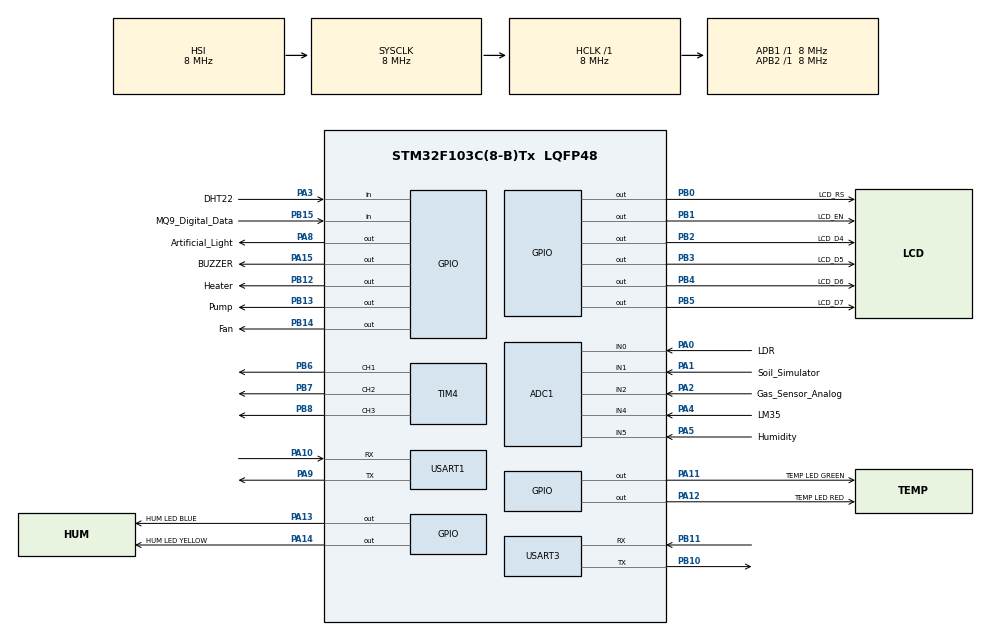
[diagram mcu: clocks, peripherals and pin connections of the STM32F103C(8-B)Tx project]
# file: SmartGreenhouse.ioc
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ADC1.Channel-0\#ChannelRegularConversion=ADC_CHANNEL_0
ADC1.NbrOfConversionFlag=1
ADC1.Rank-0\#ChannelRegularConversion=1
ADC1.SamplingTime-0\#ChannelRegularConversion=ADC_SAMPLETIME_1CYCLE_5
ADC1.master=1
Dma.Request0=USART3_TX
Dma.USART3_TX.0.Direction=DMA_MEMORY_TO_PERIPH
Dma.USART3_TX.0.Instance=DMA1_Channel2
Dma.USART3_TX.0.MemDataAlignment=DMA_MDATAALIGN_BYTE
Dma.USART3_TX.0.MemInc=DMA_MINC_ENABLE
Dma.USART3_TX.0.Mode=DMA_NORMAL
Dma.USART3_TX.0.PeriphDataAlignment=DMA_PDATAALIGN_BYTE
Dma.USART3_TX.0.PeriphInc=DMA_PINC_DISABLE
Dma.USART3_TX.0.Priority=DMA_PRIORITY_LOW
Mcu.Family=STM32F1
Mcu.Name=STM32F103C(8-B)Tx
Mcu.Package=LQFP48
NVIC.DMA1_Channel2_IRQn=true\:0\:0\:false\:false\:true\:false\:true\:true
NVIC.PriorityGroup=NVIC_PRIORITYGROUP_4
NVIC.USART3_IRQn=true\:0\:0\:false\:false\:true\:true\:true\:true
PA0-WKUP.GPIO_Label=LDR
PA0-WKUP.Signal=ADCx_IN0
PA1.GPIO_Label=Soil_Simulator
PA1.Signal=ADCx_IN1
PA10.Mode=Asynchronous
PA10.Signal=USART1_RX
PA11.GPIO_Label=TEMP LED GREEN
PA11.Signal=GPIO_Output
PA12.GPIO_Label=TEMP LED RED
PA12.Signal=GPIO_Output
PA13.GPIO_Label=HUM LED BLUE
PA13.Signal=GPIO_Output
PA14.GPIO_Label=HUM LED YELLOW
PA14.Signal=GPIO_Output
PA15.GPIO_Label=BUZZER
PA15.Signal=GPIO_Output
PA2.GPIO_Label=Gas_Sensor_Analog
PA2.Signal=ADCx_IN2
PA3.GPIO_Label=DHT22
PA3.GPIO_PuPd=GPIO_PULLUP
PA3.Signal=GPIO_Input
PA4.GPIO_Label=LM35
PA4.Signal=ADCx_IN4
PA5.GPIO_Label=Humidity
PA5.Signal=ADCx_IN5
PA8.GPIO_Label=Artificial_Light
PA8.Signal=GPIO_Output
PA9.Mode=Asynchronous
PA9.Signal=USART1_TX
PB0.GPIO_Label=LCD_RS
PB0.Signal=GPIO_Output
PB1.GPIO_Label=LCD_EN
PB1.Signal=GPIO_Output
PB10.Mode=Asynchronous
PB10.Signal=USART3_TX
PB11.Mode=Asynchronous
PB11.Signal=USART3_RX
PB12.GPIO_Label=Heater
PB12.Signal=GPIO_Output
PB13.GPIO_Label=Pump
PB13.Signal=GPIO_Output
PB14.GPIO_Label=Fan
PB14.Signal=GPIO_Output
PB15.GPIO_Label=MQ9_Digital_Data
PB15.GPIO_PuPd=GPIO_PULLUP
PB15.Signal=GPIO_Input
PB2.GPIO_Label=LCD_D4
PB2.Signal=GPIO_Output
PB3.GPIO_Label=LCD_D5
PB3.Signal=GPIO_Output
PB4.GPIO_Label=LCD_D6
PB4.Signal=GPIO_Output
PB5.GPIO_Label=LCD_D7
PB5.Signal=GPIO_Output
PB6.Signal=S_TIM4_CH1
PB7.Signal=S_TIM4_CH2
PB8.Signal=S_TIM4_CH3
ProjectManager.HeapSize=0x200
ProjectManager.StackSize=0x400
ProjectManager.TargetToolchain=STM32CubeIDE
RCC.AHBFreq_Value=8000000
RCC.APB1Freq_Value=8000000
RCC.APB1TimFreq_Value=8000000
RCC.APB2Freq_Value=8000000
RCC.APB2TimFreq_Value=8000000
RCC.HCLKFreq_Value=8000000
RCC.PLLMUL=RCC_PLL_MUL4
RCC.SYSCLKFreq_VALUE=8000000
RCC.USBFreq_Value=16000000
SH.ADCx_IN0.0=ADC1_IN0,IN0
SH.ADCx_IN1.0=ADC1_IN1,IN1
SH.ADCx_IN2.0=ADC1_IN2,IN2
SH.ADCx_IN4.0=ADC1_IN4,IN4
SH.ADCx_IN5.0=ADC1_IN5,IN5
SH.S_TIM4_CH1.0=TIM4_CH1,PWM Generation1 CH1
SH.S_TIM4_CH2.0=TIM4_CH2,PWM Generation2 CH2
SH.S_TIM4_CH3.0=TIM4_CH3,PWM Generation3 CH3
TIM2.Prescaler=7
TIM4.Channel-PWM\ Generation1\ CH1=TIM_CHANNEL_1
TIM4.Channel-PWM\ Generation2\ CH2=TIM_CHANNEL_2
TIM4.Channel-PWM\ Generation3\ CH3=TIM_CHANNEL_3
USART1.VirtualMode=VM_ASYNC
USART3.VirtualMode=VM_ASYNC
VP_SYS_VS_ND.Mode=No_Debug
VP_TIM2_VS_ClockSourceINT.Mode=Internal
VP_TIM4_VS_ClockSourceINT.Mode=Internal
board=custom

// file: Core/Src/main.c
/* USER CODE BEGIN Header */
/**
  ******************************************************************************
  * @file           : main.c
  * @brief          : Main program body
  ******************************************************************************
  * @attention
  *
  * Copyright (c) 2026 STMicroelectronics.
  * All rights reserved.
  *
  * This software is licensed under terms that can be found in the LICENSE file
  * in the root directory of this software component.
  * If no LICENSE file comes with this software, it is provided AS-IS.
  *
  ******************************************************************************
  */
/* USER CODE END Header */
#include "main.h"

/* USER CODE BEGIN Includes */
#include "system_init.h"
#include "sensor_task.h"
#include "control_task.h"
#include "display_task.h"
#include "uart_task.h"
#include "esp_task.h"
#include "uart3_task.h"
#include <stdio.h>
#include <string.h>
/* USER CODE END Includes */

ADC_HandleTypeDef hadc1;

TIM_HandleTypeDef htim2;
TIM_HandleTypeDef htim4;

UART_HandleTypeDef huart1;
UART_HandleTypeDef huart3;
DMA_HandleTypeDef hdma_usart3_tx;

void SystemClock_Config(void);
static void MX_GPIO_Init(void);
static void MX_DMA_Init(void);
static void MX_ADC1_Init(void);
static void MX_USART1_UART_Init(void);
static void MX_TIM2_Init(void);
static void MX_USART3_UART_Init(void);
static void MX_TIM4_Init(void);

/* USER CODE BEGIN 0 */
uint32_t sensorTick = 0;
uint32_t controlTick = 0;
uint32_t lcdTick = 0;
uint32_t uartTick = 0;
uint32_t espTick = 0;
/* USER CODE END 0 */

int main(void)
{

  /* MCU Configuration--------------------------------------------------------*/

  /* Reset of all peripherals, Initializes the Flash interface and the Systick. */
  HAL_Init();

  /* Configure the system clock */
  SystemClock_Config();

  /* Initialize all configured peripherals */
  MX_GPIO_Init();
  MX_DMA_Init();
  MX_ADC1_Init();
  MX_USART1_UART_Init();
  MX_TIM2_Init();
  MX_USART3_UART_Init();
  MX_TIM4_Init();
  /* USER CODE BEGIN 2 */
  System_Init();
  UART3_StartReceive();
  /* USER CODE END 2 */

  /* Infinite loop */
  /* USER CODE BEGIN WHILE */
  while (1)
  {

	  uint32_t now = HAL_GetTick();
	    UART3_CheckAndProcess();

	 if(now - sensorTick >= 20)
	 {
		 sensorTick = now;
		 SensorTask();
	 }

	 if(now - controlTick >= 20)
	 {
		 controlTick = now;
		 ControlTask();
	 }

	 if(now - espTick >= 20)
	 {
		 espTick = now;
		 ESPTask();          // USART3 + DMA
	 }

	 if(now - lcdTick >= 250)
	 {
		 lcdTick = now;
		 DisplayTask();
	 }

	 if(now - uartTick >= 500)
	 {
		 uartTick = now;
		 UARTTask();
	 }

    /* USER CODE END WHILE */

  }
}

void SystemClock_Config(void)
{
  RCC_OscInitTypeDef RCC_OscInitStruct = {0};
  RCC_ClkInitTypeDef RCC_ClkInitStruct = {0};
  RCC_PeriphCLKInitTypeDef PeriphClkInit = {0};

  /** Initializes the RCC Oscillators according to the specified parameters
  * in the RCC_OscInitTypeDef structure.
  */
  RCC_OscInitStruct.OscillatorType = RCC_OSCILLATORTYPE_HSI;
  RCC_OscInitStruct.HSIState = RCC_HSI_ON;
  RCC_OscInitStruct.HSICalibrationValue = RCC_HSICALIBRATION_DEFAULT;
  RCC_OscInitStruct.PLL.PLLState = RCC_PLL_NONE;
  if (HAL_RCC_OscConfig(&RCC_OscInitStruct) != HAL_OK)
  {
    Error_Handler();
  }

  /** Initializes the CPU, AHB and APB buses clocks
  */
  RCC_ClkInitStruct.ClockType = RCC_CLOCKTYPE_HCLK|RCC_CLOCKTYPE_SYSCLK
                              |RCC_CLOCKTYPE_PCLK1|RCC_CLOCKTYPE_PCLK2;
  RCC_ClkInitStruct.SYSCLKSource = RCC_SYSCLKSOURCE_HSI;
  RCC_ClkInitStruct.AHBCLKDivider = RCC_SYSCLK_DIV1;
  RCC_ClkInitStruct.APB1CLKDivider = RCC_HCLK_DIV1;
  RCC_ClkInitStruct.APB2CLKDivider = RCC_HCLK_DIV1;

  if (HAL_RCC_ClockConfig(&RCC_ClkInitStruct, FLASH_LATENCY_0) != HAL_OK)
  {
    Error_Handler();
  }
  PeriphClkInit.PeriphClockSelection = RCC_PERIPHCLK_ADC;
  PeriphClkInit.AdcClockSelection = RCC_ADCPCLK2_DIV2;
  if (HAL_RCCEx_PeriphCLKConfig(&PeriphClkInit) != HAL_OK)
  {
    Error_Handler();
  }
}

static void MX_ADC1_Init(void)
{

  ADC_ChannelConfTypeDef sConfig = {0};

  /** Common config
  */
  hadc1.Instance = ADC1;
  hadc1.Init.ScanConvMode = ADC_SCAN_DISABLE;
  hadc1.Init.ContinuousConvMode = DISABLE;
  hadc1.Init.DiscontinuousConvMode = DISABLE;
  hadc1.Init.ExternalTrigConv = ADC_SOFTWARE_START;
  hadc1.Init.DataAlign = ADC_DATAALIGN_RIGHT;
  hadc1.Init.NbrOfConversion = 1;
  if (HAL_ADC_Init(&hadc1) != HAL_OK)
  {
    Error_Handler();
  }

  /** Configure Regular Channel
  */
  sConfig.Channel = ADC_CHANNEL_0;
  sConfig.Rank = ADC_REGULAR_RANK_1;
  sConfig.SamplingTime = ADC_SAMPLETIME_1CYCLE_5;
  if (HAL_ADC_ConfigChannel(&hadc1, &sConfig) != HAL_OK)
  {
    Error_Handler();
  }

}

static void MX_TIM2_Init(void)
{

  TIM_ClockConfigTypeDef sClockSourceConfig = {0};
  TIM_MasterConfigTypeDef sMasterConfig = {0};

  htim2.Instance = TIM2;
  htim2.Init.Prescaler = 7;
  htim2.Init.CounterMode = TIM_COUNTERMODE_UP;
  htim2.Init.Period = 65535;
  htim2.Init.ClockDivision = TIM_CLOCKDIVISION_DIV1;
  htim2.Init.AutoReloadPreload = TIM_AUTORELOAD_PRELOAD_DISABLE;
  if (HAL_TIM_Base_Init(&htim2) != HAL_OK)
  {
    Error_Handler();
  }
  sClockSourceConfig.ClockSource = TIM_CLOCKSOURCE_INTERNAL;
  if (HAL_TIM_ConfigClockSource(&htim2, &sClockSourceConfig) != HAL_OK)
  {
    Error_Handler();
  }
  sMasterConfig.MasterOutputTrigger = TIM_TRGO_RESET;
  sMasterConfig.MasterSlaveMode = TIM_MASTERSLAVEMODE_DISABLE;
  if (HAL_TIMEx_MasterConfigSynchronization(&htim2, &sMasterConfig) != HAL_OK)
  {
    Error_Handler();
  }

}

static void MX_TIM4_Init(void)
{

  TIM_ClockConfigTypeDef sClockSourceConfig = {0};
  TIM_MasterConfigTypeDef sMasterConfig = {0};
  TIM_OC_InitTypeDef sConfigOC = {0};

  htim4.Instance = TIM4;
  htim4.Init.Prescaler = 0;
  htim4.Init.CounterMode = TIM_COUNTERMODE_UP;
  htim4.Init.Period = 65535;
  htim4.Init.ClockDivision = TIM_CLOCKDIVISION_DIV1;
  htim4.Init.AutoReloadPreload = TIM_AUTORELOAD_PRELOAD_DISABLE;
  if (HAL_TIM_Base_Init(&htim4) != HAL_OK)
  {
    Error_Handler();
  }
  sClockSourceConfig.ClockSource = TIM_CLOCKSOURCE_INTERNAL;
  if (HAL_TIM_ConfigClockSource(&htim4, &sClockSourceConfig) != HAL_OK)
  {
    Error_Handler();
  }
  if (HAL_TIM_PWM_Init(&htim4) != HAL_OK)
  {
    Error_Handler();
  }
  sMasterConfig.MasterOutputTrigger = TIM_TRGO_RESET;
  sMasterConfig.MasterSlaveMode = TIM_MASTERSLAVEMODE_DISABLE;
  if (HAL_TIMEx_MasterConfigSynchronization(&htim4, &sMasterConfig) != HAL_OK)
  {
    Error_Handler();
  }
  sConfigOC.OCMode = TIM_OCMODE_PWM1;
  sConfigOC.Pulse = 0;
  sConfigOC.OCPolarity = TIM_OCPOLARITY_HIGH;
  sConfigOC.OCFastMode = TIM_OCFAST_DISABLE;
  if (HAL_TIM_PWM_ConfigChannel(&htim4, &sConfigOC, TIM_CHANNEL_1) != HAL_OK)
  {
    Error_Handler();
  }
  if (HAL_TIM_PWM_ConfigChannel(&htim4, &sConfigOC, TIM_CHANNEL_2) != HAL_OK)
  {
    Error_Handler();
  }
  if (HAL_TIM_PWM_ConfigChannel(&htim4, &sConfigOC, TIM_CHANNEL_3) != HAL_OK)
  {
    Error_Handler();
  }
  HAL_TIM_MspPostInit(&htim4);

}

static void MX_USART1_UART_Init(void)
{

  huart1.Instance = USART1;
  huart1.Init.BaudRate = 115200;
  huart1.Init.WordLength = UART_WORDLENGTH_8B;
  huart1.Init.StopBits = UART_STOPBITS_1;
  huart1.Init.Parity = UART_PARITY_NONE;
  huart1.Init.Mode = UART_MODE_TX_RX;
  huart1.Init.HwFlowCtl = UART_HWCONTROL_NONE;
  huart1.Init.OverSampling = UART_OVERSAMPLING_16;
  if (HAL_UART_Init(&huart1) != HAL_OK)
  {
    Error_Handler();
  }

}

static void MX_USART3_UART_Init(void)
{

  huart3.Instance = USART3;
  huart3.Init.BaudRate = 115200;
  huart3.Init.WordLength = UART_WORDLENGTH_8B;
  huart3.Init.StopBits = UART_STOPBITS_1;
  huart3.Init.Parity = UART_PARITY_NONE;
  huart3.Init.Mode = UART_MODE_TX_RX;
  huart3.Init.HwFlowCtl = UART_HWCONTROL_NONE;
  huart3.Init.OverSampling = UART_OVERSAMPLING_16;
  if (HAL_UART_Init(&huart3) != HAL_OK)
  {
    Error_Handler();
  }

}

static void MX_DMA_Init(void)
{

  /* DMA controller clock enable */
  __HAL_RCC_DMA1_CLK_ENABLE();

  /* DMA interrupt init */
  /* DMA1_Channel2_IRQn interrupt configuration */
  HAL_NVIC_SetPriority(DMA1_Channel2_IRQn, 0, 0);
  HAL_NVIC_EnableIRQ(DMA1_Channel2_IRQn);

}

static void MX_GPIO_Init(void)
{
  GPIO_InitTypeDef GPIO_InitStruct = {0};

  /* GPIO Ports Clock Enable */
  __HAL_RCC_GPIOA_CLK_ENABLE();
  __HAL_RCC_GPIOB_CLK_ENABLE();

  /*Configure GPIO pin Output Level */
  HAL_GPIO_WritePin(GPIOB, LCD_RS_Pin|LCD_EN_Pin|LCD_D4_Pin|Heater_Pin
                          |Pump_Pin|Fan_Pin|LCD_D5_Pin|LCD_D6_Pin
                          |LCD_D7_Pin, GPIO_PIN_RESET);

  /*Configure GPIO pin Output Level */
  HAL_GPIO_WritePin(GPIOA, Artificial_Light_Pin|TEMP_LED_GREEN_Pin|TEMP_LED_RED_Pin|HUM_LED_BLUE_Pin
                          |HUM_LED_YELLOW_Pin|BUZZER_Pin, GPIO_PIN_RESET);

  /*Configure GPIO pin : DHT22_Pin */
  GPIO_InitStruct.Pin = DHT22_Pin;
  GPIO_InitStruct.Mode = GPIO_MODE_INPUT;
  GPIO_InitStruct.Pull = GPIO_PULLUP;
  HAL_GPIO_Init(DHT22_GPIO_Port, &GPIO_InitStruct);

  /*Configure GPIO pins : LCD_RS_Pin LCD_EN_Pin LCD_D4_Pin Heater_Pin
                           Pump_Pin Fan_Pin LCD_D5_Pin LCD_D6_Pin
                           LCD_D7_Pin */
  GPIO_InitStruct.Pin = LCD_RS_Pin|LCD_EN_Pin|LCD_D4_Pin|Heater_Pin
                          |Pump_Pin|Fan_Pin|LCD_D5_Pin|LCD_D6_Pin
                          |LCD_D7_Pin;
  GPIO_InitStruct.Mode = GPIO_MODE_OUTPUT_PP;
  GPIO_InitStruct.Pull = GPIO_NOPULL;
  GPIO_InitStruct.Speed = GPIO_SPEED_FREQ_LOW;
  HAL_GPIO_Init(GPIOB, &GPIO_InitStruct);

  /*Configure GPIO pin : MQ9_Digital_Data_Pin */
  GPIO_InitStruct.Pin = MQ9_Digital_Data_Pin;
  GPIO_InitStruct.Mode = GPIO_MODE_INPUT;
  GPIO_InitStruct.Pull = GPIO_PULLUP;
  HAL_GPIO_Init(MQ9_Digital_Data_GPIO_Port, &GPIO_InitStruct);

  /*Configure GPIO pins : Artificial_Light_Pin TEMP_LED_GREEN_Pin TEMP_LED_RED_Pin HUM_LED_BLUE_Pin
                           HUM_LED_YELLOW_Pin BUZZER_Pin */
  GPIO_InitStruct.Pin = Artificial_Light_Pin|TEMP_LED_GREEN_Pin|TEMP_LED_RED_Pin|HUM_LED_BLUE_Pin
                          |HUM_LED_YELLOW_Pin|BUZZER_Pin;
  GPIO_InitStruct.Mode = GPIO_MODE_OUTPUT_PP;
  GPIO_InitStruct.Pull = GPIO_NOPULL;
  GPIO_InitStruct.Speed = GPIO_SPEED_FREQ_LOW;
  HAL_GPIO_Init(GPIOA, &GPIO_InitStruct);

}

void Error_Handler(void)
{
  __disable_irq();
  while (1)
  {
  }
}
